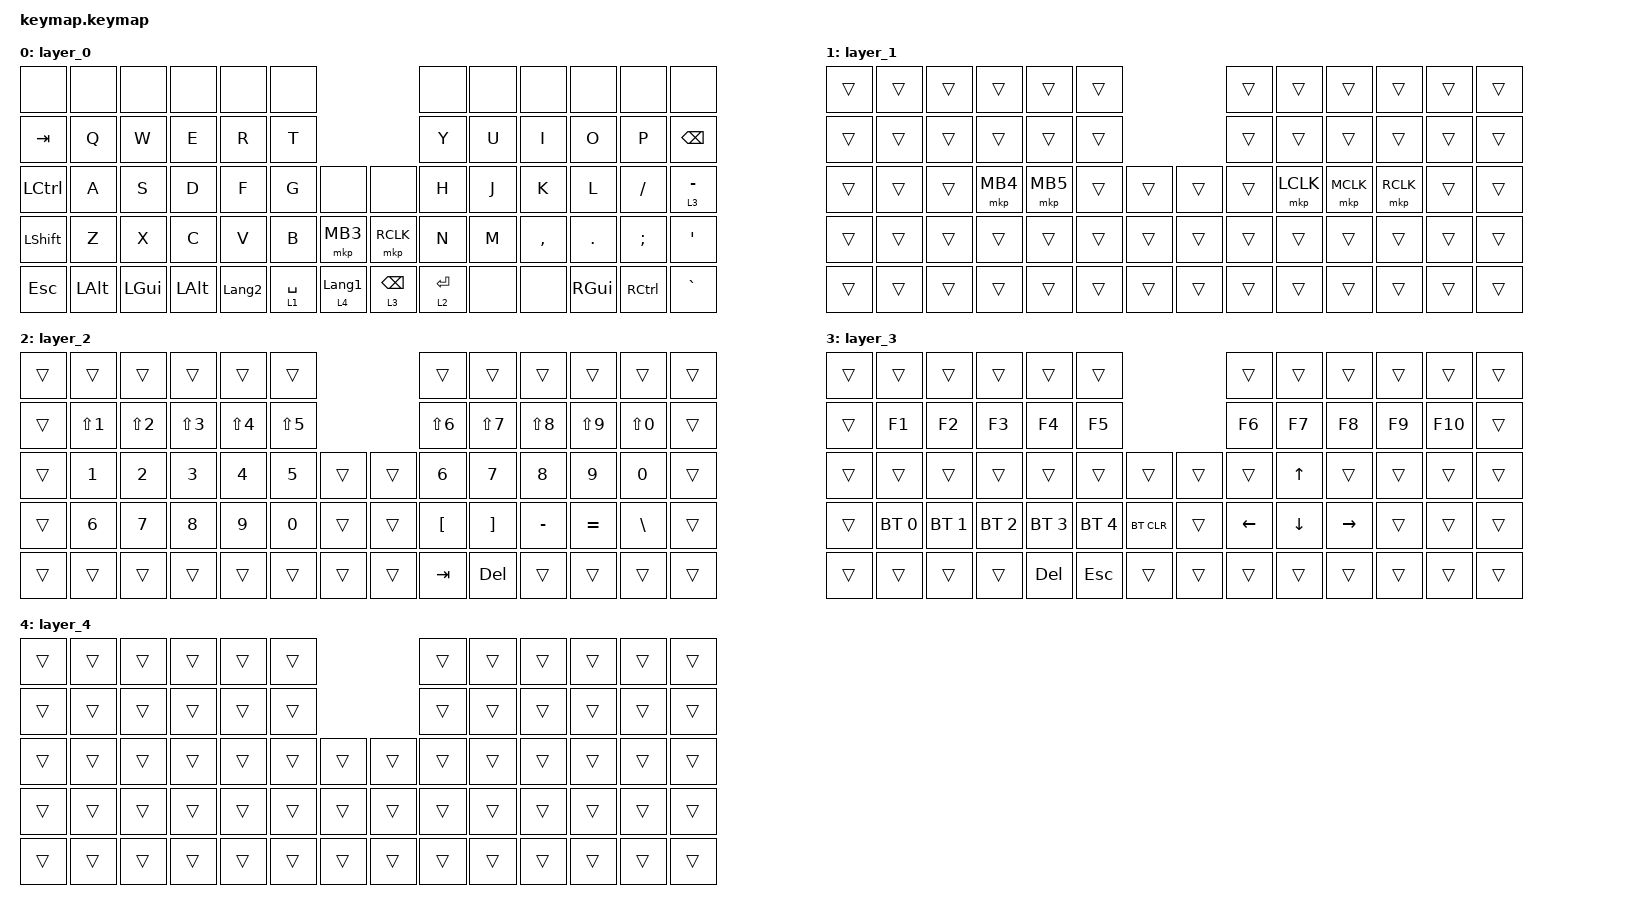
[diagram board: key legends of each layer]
#include <input/processors.dtsi>
#include <behaviors.dtsi>
#include <dt-bindings/zmk/bt.h>
#include <dt-bindings/zmk/keys.h>
#include <dt-bindings/zmk/pointing.h>

&pointing_listener {
    scroller {
        layers = <4>;
        input-processors = <
            &zip_xy_to_scroll_mapper
            &zip_scroll_scaler 1 4
        >;
    };
};

/ {
    combos {
        compatible = "zmk,combos";

        bt_clear {
            bindings = <&bt BT_CLR>;
            key-positions = <28 29>;
        };
    };

    keymap {
        compatible = "zmk,keymap";

        layer_0 {
            bindings = <
&none      &none     &none     &none     &none           &none                                           &none        &none  &none      &none     &none          &none
&kp TAB    &kp Q     &kp W     &kp E     &kp R           &kp T                                           &kp Y        &kp U  &kp I      &kp O     &kp P          &kp BSPC
&kp LCTRL  &kp A     &kp S     &kp D     &kp F           &kp G        &none             &none            &kp H        &kp J  &kp K      &kp L     &kp FSLH       &lt 3 MINUS
&kp LSHFT  &kp Z     &kp X     &kp C     &kp V           &kp B        &mkp MB3          &mkp RCLK        &kp N        &kp M  &kp COMMA  &kp DOT   &kp SEMICOLON  &kp SQT
&kp ESC    &kp LALT  &kp LGUI  &kp LALT  &kp LANGUAGE_2  &lt 1 SPACE  &lt 4 LANGUAGE_1  &lt 3 BACKSPACE  &lt 2 ENTER  &none  &none      &kp RGUI  &kp RCTRL      &kp GRAVE
            >;
        };

        layer_1 {
            bindings = <
&trans  &trans  &trans  &trans    &trans    &trans                  &trans  &trans     &trans     &trans     &trans  &trans
&trans  &trans  &trans  &trans    &trans    &trans                  &trans  &trans     &trans     &trans     &trans  &trans
&trans  &trans  &trans  &mkp MB4  &mkp MB5  &trans  &trans  &trans  &trans  &mkp LCLK  &mkp MCLK  &mkp RCLK  &trans  &trans
&trans  &trans  &trans  &trans    &trans    &trans  &trans  &trans  &trans  &trans     &trans     &trans     &trans  &trans
&trans  &trans  &trans  &trans    &trans    &trans  &trans  &trans  &trans  &trans     &trans     &trans     &trans  &trans
            >;
        };

        layer_2 {
            bindings = <
&trans  &trans            &trans            &trans      &trans      &trans                      &trans            &trans             &trans      &trans      &trans         &trans
&trans  &kp LS(NUMBER_1)  &kp LS(NUMBER_2)  &kp LS(N3)  &kp LS(N4)  &kp LS(N5)                  &kp LS(N6)        &kp LS(N7)         &kp LS(N8)  &kp LS(N9)  &kp LS(N0)     &trans
&trans  &kp N1            &kp N2            &kp N3      &kp N4      &kp N5      &trans  &trans  &kp NUMBER_6      &kp N7             &kp N8      &kp N9      &kp N0         &trans
&trans  &kp N6            &kp N7            &kp N8      &kp N9      &kp N0      &trans  &trans  &kp LEFT_BRACKET  &kp RIGHT_BRACKET  &kp MINUS   &kp EQUAL   &kp BACKSLASH  &trans
&trans  &trans            &trans            &trans      &trans      &trans      &trans  &trans  &kp TAB           &kp DEL            &trans      &trans      &trans         &trans
            >;
        };

        layer_3 {
            bindings = <
&trans  &trans        &trans        &trans        &trans        &trans                            &trans          &trans          &trans           &trans  &trans   &trans
&trans  &kp F1        &kp F2        &kp F3        &kp F4        &kp F5                            &kp F6          &kp F7          &kp F8           &kp F9  &kp F10  &trans
&trans  &trans        &trans        &trans        &trans        &trans        &trans      &trans  &trans          &kp UP_ARROW    &trans           &trans  &trans   &trans
&trans  &bt BT_SEL 0  &bt BT_SEL 1  &bt BT_SEL 2  &bt BT_SEL 3  &bt BT_SEL 4  &bt BT_CLR  &trans  &kp LEFT_ARROW  &kp DOWN_ARROW  &kp RIGHT_ARROW  &trans  &trans   &trans
&trans  &trans        &trans        &trans        &kp DELETE    &kp ESC       &trans      &trans  &trans          &trans          &trans           &trans  &trans   &trans
            >;
        };

        layer_4 {
            bindings = <
&trans  &trans  &trans  &trans  &trans  &trans                  &trans  &trans  &trans  &trans  &trans  &trans
&trans  &trans  &trans  &trans  &trans  &trans                  &trans  &trans  &trans  &trans  &trans  &trans
&trans  &trans  &trans  &trans  &trans  &trans  &trans  &trans  &trans  &trans  &trans  &trans  &trans  &trans
&trans  &trans  &trans  &trans  &trans  &trans  &trans  &trans  &trans  &trans  &trans  &trans  &trans  &trans
&trans  &trans  &trans  &trans  &trans  &trans  &trans  &trans  &trans  &trans  &trans  &trans  &trans  &trans
            >;
        };
    };
};
